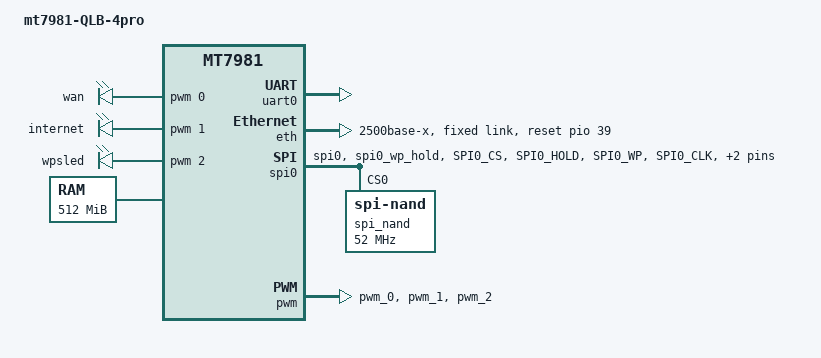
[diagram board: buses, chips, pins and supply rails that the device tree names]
// SPDX-License-Identifier: GPL-2.0

/dts-v1/;
#include "mt7981.dtsi"
#include <dt-bindings/gpio/gpio.h>
#include <dt-bindings/pwm/pwm.h>
/ {
	#address-cells = <1>;
	#size-cells = <1>;
	model = "mt7981-QLB-4pro";
	compatible = "mediatek,mt7981", "mediatek,mt7981-rfb";

	chosen {
		stdout-path = &uart0;
		tick-timer = &timer0;
	};
	mtd-layout {
		layout@0 {
			label = "default";
			cmdline = "console=ttyS0,115200n8 earlycon=uart8250,mmio32,0x11002000";
			mtdids = "nmbm0=nmbm0";
			mtdparts = "nmbm0:1024k(bl2),512k(u-boot-env),2048k(Factory),2048k(fip),1024k(Config),58112k(ubi),58112k(ubi1)";			
		};

		layout@1 {
			label = "ubi-107m";
			mtdids = "nmbm0=nmbm0";
			mtdparts = "nmbm0:1024k(bl2),512k(u-boot-env),2048k(Factory),2048k(fip),116736k(ubi)";
		};
	};
	config {
		bootcmd = "mtkboardboot";
		blink_led = "internet";
		system_led = "wpsled";
	};

	pwmleds {
		compatible = "pwm-leds";

		wan {
			label = "wan";
            pwms = <&pwm 0 1000000 0>;
            max-brightness = <255>;
			linux,default-trigger = "default-on";
		};

		internet {
			label = "internet";
            pwms = <&pwm 1 1000000 0>;
            max-brightness = <255>;
			linux,default-trigger = "default-on";
		};

		wps {
			label = "wpsled";
            pwms = <&pwm 2 1000000 0>;
            max-brightness = <255>;
			linux,default-trigger = "none";
		};
	};

	memory@40000000 {
		device_type = "memory";
		reg = <0x40000000 0x20000000>;
	};

	bl2_verify {
		bl2_compatible = "spim-nand";
	};
};

&uart0 {
	status = "okay";
};

&eth {
	status = "okay";
	mediatek,gmac-id = <0>;
	phy-mode = "2500base-x";
	mediatek,switch = "auto";
	reset-gpios = <&pio 39 GPIO_ACTIVE_HIGH>;

	fixed-link {
		speed = <2500>;
		full-duplex;
	};
};

&pio {
	spi_flash_pins: spi0-pins-func-1 {
		mux {
			function = "flash";
			groups = "spi0", "spi0_wp_hold";
		};

		conf-pu {
			pins = "SPI0_CS", "SPI0_HOLD", "SPI0_WP";
			drive-strength = <MTK_DRIVE_4mA>;
			bias-pull-up = <MTK_PUPD_SET_R1R0_11>;
		};

		conf-pd {
			pins = "SPI0_CLK", "SPI0_MOSI", "SPI0_MISO";
			drive-strength = <MTK_DRIVE_4mA>;
			bias-pull-down = <MTK_PUPD_SET_R1R0_11>;
		};
	};
    /* WAN LED - PWM 通道 0 */
    pwm0_pins: pwm0-pins {
        mux {
            function = "pwm";
            /* 
             * 重要：请根据 mt7981-pinfunc.dtsi 确认具体的 group 名称。
             * MT7981 常见的 PWM 引脚组命名可能是 "pwm_0", "pwm_ch0" 等。
             * 此处假设通道 0 对应 group "pwm_0"，请根据实际情况修改。
             */
            groups = "pwm_0"; 
        };
    };

    /* Internet LED - PWM 通道 1 */
    pwm1_pins: pwm1-pins {
        mux {
            function = "pwm";
            /* 假设通道 1 对应 group "pwm_1" */
            groups = "pwm_1";
        };
    };

    /* WPS LED - PWM 通道 2 */
    pwm2_pins: pwm2-pins {
        mux {
            function = "pwm";
            /* 假设通道 2 对应 group "pwm_2" */
            groups = "pwm_2";
        };
    };
};

&spi0 {
	#address-cells = <1>;
	#size-cells = <0>;
	pinctrl-names = "default";
	pinctrl-0 = <&spi_flash_pins>;
	status = "okay";
	must_tx;
	enhance_timing;
	dma_ext;
	ipm_design;
	support_quad;
	tick_dly = <2>;
	sample_sel = <0>;

	spi_nand@0 {
		compatible = "spi-nand";
		reg = <0>;
		spi-max-frequency = <52000000>;
	};
};

/* 2. 启用 PWM 控制器并关联引脚 */
&pwm {
   status = "okay";
    pinctrl-names = "default";
    /* 引用下面定义的引脚组 */
    pinctrl-0 = <&pwm0_pins>, <&pwm1_pins>, <&pwm2_pins>;
};


&watchdog {
	status = "disabled";
};
